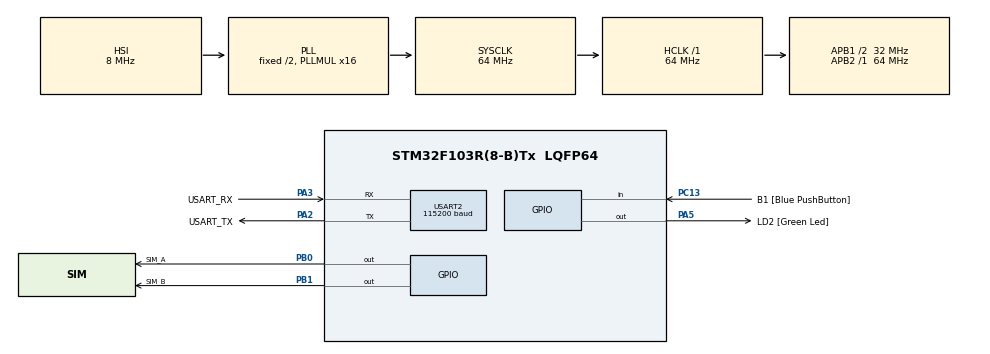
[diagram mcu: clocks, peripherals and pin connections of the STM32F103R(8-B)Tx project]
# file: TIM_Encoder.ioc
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Mcu.Family=STM32F1
Mcu.Name=STM32F103R(8-B)Tx
Mcu.Package=LQFP64
NVIC.PriorityGroup=NVIC_PRIORITYGROUP_4
PA13.GPIO_Label=TMS
PA13.Mode=Serial_Wire
PA13.Signal=SYS_JTMS-SWDIO
PA14.GPIO_Label=TCK
PA14.Mode=Serial_Wire
PA14.Signal=SYS_JTCK-SWCLK
PA2.GPIO_Label=USART_TX
PA2.GPIO_Mode=GPIO_MODE_AF_PP
PA2.GPIO_PuPd=GPIO_NOPULL
PA2.GPIO_Speed=GPIO_SPEED_FREQ_LOW
PA2.Mode=Asynchronous
PA2.Signal=USART2_TX
PA3.GPIO_Label=USART_RX
PA3.GPIO_PuPd=GPIO_NOPULL
PA3.GPIO_Speed=GPIO_SPEED_FREQ_LOW
PA3.Mode=Asynchronous
PA3.Signal=USART2_RX
PA5.GPIO_Label=LD2 [Green Led]
PA5.GPIO_ModeDefaultOutputPP=GPIO_MODE_OUTPUT_PP
PA5.GPIO_PuPd=GPIO_NOPULL
PA5.GPIO_Speed=GPIO_SPEED_FREQ_LOW
PA5.Signal=GPIO_Output
PA6.GPIO_PuPd=GPIO_PULLUP
PA6.Signal=S_TIM3_CH1
PA7.GPIO_PuPd=GPIO_PULLUP
PA7.Signal=S_TIM3_CH2
PB0.GPIO_Label=SIM_A
PB0.GPIO_ModeDefaultOutputPP=GPIO_MODE_OUTPUT_PP
PB0.GPIO_PuPd=GPIO_NOPULL
PB0.GPIO_Speed=GPIO_SPEED_FREQ_LOW
PB0.Signal=GPIO_Output
PB1.GPIO_Label=SIM_B
PB1.GPIO_ModeDefaultOutputPP=GPIO_MODE_OUTPUT_PP
PB1.GPIO_PuPd=GPIO_NOPULL
PB1.GPIO_Speed=GPIO_SPEED_FREQ_LOW
PB1.Signal=GPIO_Output
PB3.GPIO_Label=SWO
PB3.Signal=SYS_JTDO-TRACESWO
PC13-TAMPER-RTC.GPIO_Label=B1 [Blue PushButton]
PC13-TAMPER-RTC.GPIO_PuPd=GPIO_NOPULL
PC13-TAMPER-RTC.Signal=GPIO_Input
PC14-OSC32_IN.Mode=LSE-External-Oscillator
PC14-OSC32_IN.Signal=RCC_OSC32_IN
PC15-OSC32_OUT.Mode=LSE-External-Oscillator
PC15-OSC32_OUT.Signal=RCC_OSC32_OUT
PD0-OSC_IN.Mode=HSE-External-Clock-Source
PD0-OSC_IN.Signal=RCC_OSC_IN
PD1-OSC_OUT.Mode=HSE-External-Clock-Source
PD1-OSC_OUT.Signal=RCC_OSC_OUT
ProjectManager.HeapSize=0x200
ProjectManager.StackSize=0x400
ProjectManager.TargetToolchain=STM32CubeIDE
RCC.AHBFreq_Value=64000000
RCC.APB1CLKDivider=RCC_HCLK_DIV2
RCC.APB1Freq_Value=32000000
RCC.APB1TimFreq_Value=64000000
RCC.APB2Freq_Value=64000000
RCC.APB2TimFreq_Value=64000000
RCC.HCLKFreq_Value=64000000
RCC.PLLMUL=RCC_PLL_MUL16
RCC.RTCClockSelection=RCC_RTCCLKSOURCE_LSE
RCC.SYSCLKFreq_VALUE=64000000
RCC.SYSCLKSource=RCC_SYSCLKSOURCE_PLLCLK
RCC.USBFreq_Value=64000000
TIM3.Combined Channels=Encoder Mode
TIM3.IC1Filter=6
TIM3.IC2Filter=6
TIM3.Period=65535
USART2.BaudRate=115200
USART2.VirtualMode=VM_ASYNC
board=NUCLEO-F103RB

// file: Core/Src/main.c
/* USER CODE BEGIN Header */
/**
 ******************************************************************************
 * @file           : main.c
 * @brief          : Main program body
 ******************************************************************************
 * @attention
 *
 * Copyright (c) 2026 STMicroelectronics.
 * All rights reserved.
 *
 * This software is licensed under terms that can be found in the LICENSE file
 * in the root directory of this software component.
 * If no LICENSE file comes with this software, it is provided AS-IS.
 *
 ******************************************************************************
 */
/**
 * 07_TIM_Encoder_HAL_c  —  [계층: HAL]  타이머 엔코더 인터페이스 모드: 직교(quadrature) 엔코더를 하드웨어로 카운트
 *
 * 개념: 로터리 엔코더는 90° 위상 차이가 나는 A/B 두 신호를 낸다. 어느 쪽이 먼저 바뀌는지로 회전 방향을, 에지 수로 이동량을 안다.
 *       타이머가 두 입력을 직접 보고 CNT 를 증감(방향은 CR1.DIR)시키므로 CPU 부하가 0 이다. (인터럽트 없이도 고속 회전 추적)
 *
 * 설정 (RM0008 15.3.12)  TIM3, A = PA6(TI1), B = PA7(TI2)
 *   TIM3->SMCR.SMS = 011 : TI1 과 TI2 의 모든 에지에서 카운트 (x4 모드) -> 엔코더 1 주기(4 상태) = 4 카운트
 *   CCER.CC1P/CC2P : 극성,  CCMR1.IC1F/IC2F : 입력 필터(기계식 엔코더 접점 튐 제거)
 *   16비트 카운터는 오버플로하므로, 이동량은 "이전 값과의 16비트 부호 있는 차"로 계산하면 래핑에 안전하다.
 *
 * 시험 방법 두 가지
 *   (A) 실제 엔코더: A/B 를 PA6/PA7 에 연결(풀업 필요), 공통 GND.  SIMULATE_ENCODER 를 0 으로 바꿔 빌드
 *   (B) 시뮬레이션(기본): PB0 -> PA6, PB1 -> PA7 을 점퍼선으로 연결. 소프트웨어가 PB0/PB1 로 직교 신호를 만들어 낸다.
 *       B1(PC13)을 누를 때마다 회전 방향이 바뀐다.
 *
 * 출력: 200ms 마다 "count=… delta=… (+=정방향/-=역방향) rate=… counts/s"  (UART 115200)
 *
 * 인터럽트를 사용하지 않는다 (폴링). 이동 감지에 인터럽트가 필요하면 오버플로/CC 인터럽트를 추가.
 */
/* USER CODE END Header */
#include "main.h"

/* USER CODE BEGIN Includes */
#include <stdio.h>
#include <string.h>
/* USER CODE END Includes */

/* USER CODE BEGIN PD */
#define SIMULATE_ENCODER 1

/* USER CODE END PD */

TIM_HandleTypeDef htim3;
UART_HandleTypeDef huart2;

void SystemClock_Config(void);
static void MX_GPIO_Init(void);
static void MX_USART2_UART_Init(void);
static void MX_TIM3_Init(void);

/* USER CODE BEGIN 0 */
#if SIMULATE_ENCODER
/* 직교 신호 한 스텝 생성: 정방향 00->01->11->10, 역방향은 그 반대 (A=PB0, B=PB1) */
static void sim_step(int dir)
{
    static uint8_t state;                             /* 0..3 : Gray 코드 인덱스 */
    static const uint8_t gray[4] = { 0x0, 0x1, 0x3, 0x2 };   /* (B<<1)|A */
    state = (uint8_t)((state + (dir > 0 ? 1 : 3)) & 3U);
    uint8_t g = gray[state];
    HAL_GPIO_WritePin(SIM_A_GPIO_Port, SIM_A_Pin, (g & 1U) ? GPIO_PIN_SET : GPIO_PIN_RESET);   /* A : GPIOB->BSRR/BRR bit0 */
    HAL_GPIO_WritePin(SIM_B_GPIO_Port, SIM_B_Pin, (g & 2U) ? GPIO_PIN_SET : GPIO_PIN_RESET);   /* B : GPIOB->BSRR/BRR bit1 */
}
#endif
/* USER CODE END 0 */

int main(void)
{

  /* MCU Configuration--------------------------------------------------------*/

  /* Reset of all peripherals, Initializes the Flash interface and the Systick. */
  HAL_Init();

  /* Configure the system clock */
  SystemClock_Config();

  /* Initialize all configured peripherals */
  MX_GPIO_Init();
  MX_USART2_UART_Init();
  MX_TIM3_Init();
  /* USER CODE BEGIN 2 */
  /* 엔코더 인터페이스 시작: TIM3->CCER.CC1E/CC2E = 1, CR1.CEN = 1 (SMCR.SMS = 011 은 MX_TIM3_Init 에서 설정됨) */
  if (HAL_TIM_Encoder_Start(&htim3, TIM_CHANNEL_ALL) != HAL_OK) Error_Handler();

  char msg[96];
  uint16_t prev = 0;
  uint32_t t_print = HAL_GetTick(), t_step = HAL_GetTick();
  int dir = 1;
  (void)t_step; (void)dir;
  /* USER CODE END 2 */

  /* Infinite loop */
  while (1)
  {

    /* USER CODE BEGIN 3 */
#if SIMULATE_ENCODER
    if (HAL_GetTick() - t_step >= 5)               /* 5ms 마다 1 스텝 = 200 스텝/s */
    {
      t_step += 5;
      sim_step(dir);
    }
    if (HAL_GPIO_ReadPin(B1_GPIO_Port, B1_Pin) == GPIO_PIN_RESET)   /* GPIOC->IDR bit13 (B1: 누르면 Low) : 방향 전환 */
    {
      HAL_Delay(30);
      dir = -dir;
      while (HAL_GPIO_ReadPin(B1_GPIO_Port, B1_Pin) == GPIO_PIN_RESET) {}
    }
#endif
    if (HAL_GetTick() - t_print >= 200)
    {
      t_print += 200;
      uint16_t now = (uint16_t)__HAL_TIM_GET_COUNTER(&htim3);   /* TIM3->CNT */
      int16_t delta = (int16_t)(now - prev);                    /* 16비트 래핑에 안전한 부호 있는 차 */
      prev = now;
      int dir_hw = (htim3.Instance->CR1 & TIM_CR1_DIR) ? -1 : +1;   /* CR1.DIR : 0=증가, 1=감소 */
      int n = snprintf(msg, sizeof msg, "count=%5u  delta=%+5d  dir=%c  rate=%+ld counts/s\r\n",
                       now, delta, dir_hw > 0 ? '+' : '-', (long)delta * 5L);
      HAL_UART_Transmit(&huart2, (uint8_t *)msg, (uint16_t)n, 100);
    }
  }
  /* USER CODE END 3 */
}

void SystemClock_Config(void)
{
  RCC_OscInitTypeDef RCC_OscInitStruct = {0};
  RCC_ClkInitTypeDef RCC_ClkInitStruct = {0};

  /** Initializes the RCC Oscillators according to the specified parameters
  * in the RCC_OscInitTypeDef structure.
  */
  RCC_OscInitStruct.OscillatorType = RCC_OSCILLATORTYPE_HSI;
  RCC_OscInitStruct.HSIState = RCC_HSI_ON;
  RCC_OscInitStruct.HSICalibrationValue = RCC_HSICALIBRATION_DEFAULT;
  RCC_OscInitStruct.PLL.PLLState = RCC_PLL_ON;
  RCC_OscInitStruct.PLL.PLLSource = RCC_PLLSOURCE_HSI_DIV2;
  RCC_OscInitStruct.PLL.PLLMUL = RCC_PLL_MUL16;
  if (HAL_RCC_OscConfig(&RCC_OscInitStruct) != HAL_OK)
  {
    Error_Handler();
  }

  /** Initializes the CPU, AHB and APB buses clocks
  */
  RCC_ClkInitStruct.ClockType = RCC_CLOCKTYPE_HCLK|RCC_CLOCKTYPE_SYSCLK
                              |RCC_CLOCKTYPE_PCLK1|RCC_CLOCKTYPE_PCLK2;
  RCC_ClkInitStruct.SYSCLKSource = RCC_SYSCLKSOURCE_PLLCLK;
  RCC_ClkInitStruct.AHBCLKDivider = RCC_SYSCLK_DIV1;
  RCC_ClkInitStruct.APB1CLKDivider = RCC_HCLK_DIV2;
  RCC_ClkInitStruct.APB2CLKDivider = RCC_HCLK_DIV1;

  if (HAL_RCC_ClockConfig(&RCC_ClkInitStruct, FLASH_LATENCY_2) != HAL_OK)
  {
    Error_Handler();
  }
}

static void MX_GPIO_Init(void)
{
  GPIO_InitTypeDef GPIO_InitStruct = {0};

  /* GPIO Ports Clock Enable */
  __HAL_RCC_GPIOC_CLK_ENABLE();
  __HAL_RCC_GPIOD_CLK_ENABLE();
  __HAL_RCC_GPIOA_CLK_ENABLE();
  __HAL_RCC_GPIOB_CLK_ENABLE();

  /*Configure GPIO pin Output Level */
  HAL_GPIO_WritePin(LD2_GPIO_Port, LD2_Pin, GPIO_PIN_RESET);

  /*Configure GPIO pin Output Level */
  HAL_GPIO_WritePin(GPIOB, SIM_A_Pin|SIM_B_Pin, GPIO_PIN_RESET);

  /*Configure GPIO pin : B1_Pin */
  GPIO_InitStruct.Pin = B1_Pin;
  GPIO_InitStruct.Mode = GPIO_MODE_INPUT;
  GPIO_InitStruct.Pull = GPIO_NOPULL;
  HAL_GPIO_Init(B1_GPIO_Port, &GPIO_InitStruct);

  /*Configure GPIO pin : LD2_Pin */
  GPIO_InitStruct.Pin = LD2_Pin;
  GPIO_InitStruct.Mode = GPIO_MODE_OUTPUT_PP;
  GPIO_InitStruct.Pull = GPIO_NOPULL;
  GPIO_InitStruct.Speed = GPIO_SPEED_FREQ_LOW;
  HAL_GPIO_Init(LD2_GPIO_Port, &GPIO_InitStruct);

  /*Configure GPIO pins : SIM_A_Pin SIM_B_Pin */
  GPIO_InitStruct.Pin = SIM_A_Pin|SIM_B_Pin;
  GPIO_InitStruct.Mode = GPIO_MODE_OUTPUT_PP;
  GPIO_InitStruct.Pull = GPIO_NOPULL;
  GPIO_InitStruct.Speed = GPIO_SPEED_FREQ_LOW;
  HAL_GPIO_Init(GPIOB, &GPIO_InitStruct);

}

static void MX_USART2_UART_Init(void)
{

  huart2.Instance = USART2;
  huart2.Init.BaudRate = 115200;
  huart2.Init.WordLength = UART_WORDLENGTH_8B;
  huart2.Init.StopBits = UART_STOPBITS_1;
  huart2.Init.Parity = UART_PARITY_NONE;
  huart2.Init.Mode = UART_MODE_TX_RX;
  huart2.Init.HwFlowCtl = UART_HWCONTROL_NONE;
  huart2.Init.OverSampling = UART_OVERSAMPLING_16;
  if (HAL_UART_Init(&huart2) != HAL_OK)
  {
    Error_Handler();
  }

}

static void MX_TIM3_Init(void)
{

  TIM_Encoder_InitTypeDef sConfig = {0};
  TIM_MasterConfigTypeDef sMasterConfig = {0};

  htim3.Instance = TIM3;
  htim3.Init.Prescaler = 0;
  htim3.Init.CounterMode = TIM_COUNTERMODE_UP;
  htim3.Init.Period = 65535;
  htim3.Init.ClockDivision = TIM_CLOCKDIVISION_DIV1;
  htim3.Init.AutoReloadPreload = TIM_AUTORELOAD_PRELOAD_DISABLE;
  sConfig.EncoderMode = TIM_ENCODERMODE_TI12;
  sConfig.IC1Polarity = TIM_ICPOLARITY_RISING;
  sConfig.IC1Selection = TIM_ICSELECTION_DIRECTTI;
  sConfig.IC1Prescaler = TIM_ICPSC_DIV1;
  sConfig.IC1Filter = 6;
  sConfig.IC2Polarity = TIM_ICPOLARITY_RISING;
  sConfig.IC2Selection = TIM_ICSELECTION_DIRECTTI;
  sConfig.IC2Prescaler = TIM_ICPSC_DIV1;
  sConfig.IC2Filter = 6;
  if (HAL_TIM_Encoder_Init(&htim3, &sConfig) != HAL_OK)
  {
    Error_Handler();
  }
  sMasterConfig.MasterOutputTrigger = TIM_TRGO_RESET;
  sMasterConfig.MasterSlaveMode = TIM_MASTERSLAVEMODE_DISABLE;
  if (HAL_TIMEx_MasterConfigSynchronization(&htim3, &sMasterConfig) != HAL_OK)
  {
    Error_Handler();
  }
  /* USER CODE BEGIN TIM3_Init 2 */
  /* TIM3->SMCR.SMS = 011 (x4), CCER.CC1P/CC2P = 0 (상승), CCMR1.IC1F/IC2F = 6 (입력 필터). 16비트 전체 범위(ARR = 0xFFFF) */
  /* USER CODE END TIM3_Init 2 */

}

void Error_Handler(void)
{
  __disable_irq();
  while (1) {
  }
}
#ifdef USE_FULL_ASSERT
/**
  * @brief  Reports the name of the source file and the source line number
  *         where the assert_param error has occurred.
  * @param  file: pointer to the source file name
  * @param  line: assert_param error line source number
  * @retval None
  */
void assert_failed(uint8_t *file, uint32_t line)
{
  /* USER CODE BEGIN 6 */
  /* User can add his own implementation to report the file name and line
     number, ex: printf("Wrong parameters value: file %s on line %d\r\n", file,
     line) */
  /* USER CODE END 6 */
}
#endif /* USE_FULL_ASSERT */
